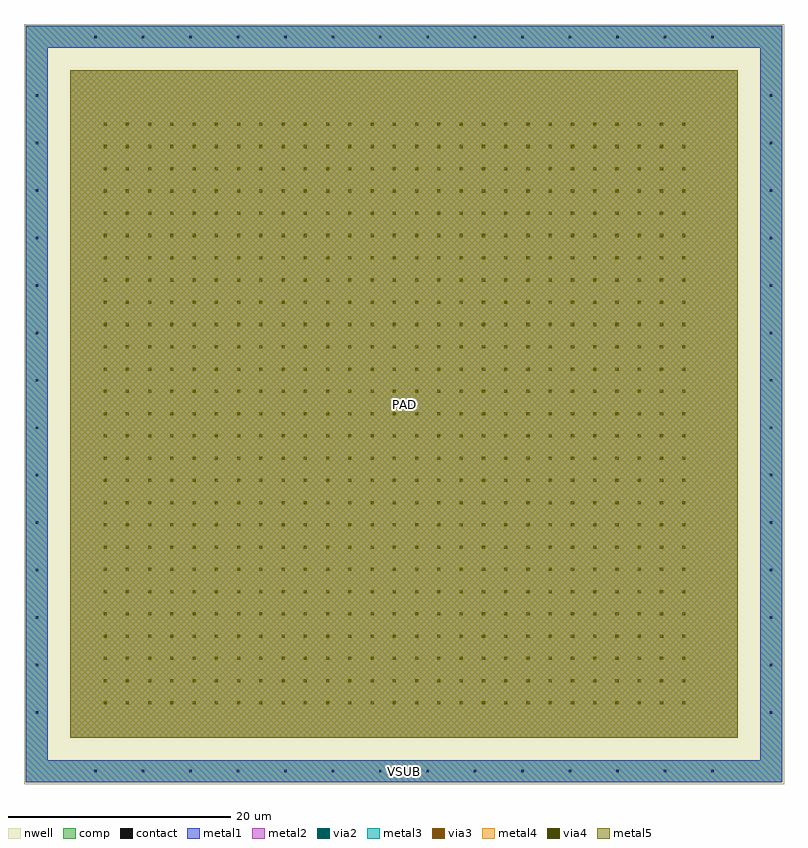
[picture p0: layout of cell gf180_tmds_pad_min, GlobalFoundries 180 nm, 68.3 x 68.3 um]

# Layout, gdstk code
import gdstk
lib = gdstk.Library(unit=1e-6, precision=1e-09)
def R(c, l, rs):  # rectangles x0, y0, x1, y1
    for r in rs: c.add(gdstk.rectangle(r[:2], r[2:], *l))
def A(c, l, x, y, w, h, nx, ny, dx, dy):  # array of equal rectangles
    R(c, l, [(x+i*dx, y+j*dy, x+i*dx+w, y+j*dy+h) for i in range(nx) for j in range(ny)])
def P(c, l, *ps):  # polygons
    for p in ps: c.add(gdstk.Polygon(p, *l))
nwell = (21, 0)
comp = (22, 0)
contact = (33, 0)
metal1 = (34, 0)
metal2 = (36, 0)
via2 = (38, 0)
via3 = (40, 0)
via4 = (41, 0)
metal3 = (42, 0)
metal4 = (46, 0)
metal5 = (81, 0)

guard_ring = lib.new_cell('guard_ring')
R(guard_ring, nwell, [(-0.15,-0.15,68.15,68.15)])
P(guard_ring, comp, [(0,0),(0,66),(2,66),(2,2),(66,2),(66,66),(0,66),(0,68),(68,68),(68,0)])
A(guard_ring, contact, 10.423, 0.89, 0.22, 0.22, 3, 2, 4.267, 66)
A(guard_ring, contact, 23.223, 0.89, 0.22, 0.22, 3, 2, 4.267, 66)
A(guard_ring, contact, 36.023, 0.89, 0.22, 0.22, 3, 2, 4.267, 66)
A(guard_ring, contact, 48.823, 0.89, 0.22, 0.22, 3, 2, 4.267, 66)
A(guard_ring, contact, 0.89, 10.423, 0.22, 0.22, 1, 3, 0, 4.267)
A(guard_ring, contact, 66.89, 10.423, 0.22, 0.22, 1, 3, 0, 4.267)
A(guard_ring, contact, 0.89, 23.223, 0.22, 0.22, 1, 3, 0, 4.267)
A(guard_ring, contact, 66.89, 23.223, 0.22, 0.22, 1, 3, 0, 4.267)
A(guard_ring, contact, 0.89, 36.023, 0.22, 0.22, 1, 3, 0, 4.267)
A(guard_ring, contact, 66.89, 36.023, 0.22, 0.22, 1, 3, 0, 4.267)
A(guard_ring, contact, 0.89, 48.823, 0.22, 0.22, 1, 3, 0, 4.267)
A(guard_ring, contact, 66.89, 48.823, 0.22, 0.22, 1, 3, 0, 4.267)
R(guard_ring, contact, [(6.157,0.89,6.377,1.11), (61.623,0.89,61.843,1.11), (0.89,6.157,1.11,6.377), (66.89,6.157,67.11,6.377), (0.89,61.623,1.11,61.843), (66.89,61.623,67.11,61.843), (6.157,66.89,6.377,67.11), (61.623,66.89,61.843,67.11)])
P(guard_ring, metal1, [(0,0),(0,66),(2,66),(2,2),(66,2),(66,66),(0,66),(0,68),(68,68),(68,0)])

gf180_tmds_pad_min = lib.new_cell('gf180_tmds_pad_min')
R(gf180_tmds_pad_min, metal2, [(4,4,64,64)])
A(gf180_tmds_pad_min, via2, 7, 7, 0.28, 0.28, 27, 27, 2, 2)
A(gf180_tmds_pad_min, via3, 7, 7, 0.28, 0.28, 27, 27, 2, 2)
A(gf180_tmds_pad_min, via4, 7, 7, 0.28, 0.28, 27, 27, 2, 2)
R(gf180_tmds_pad_min, metal3, [(4,4,64,64)])
R(gf180_tmds_pad_min, metal4, [(4,4,64,64)])
R(gf180_tmds_pad_min, metal5, [(4,4,64,64)])
gf180_tmds_pad_min.add(gdstk.Reference(guard_ring, (0,0)))
gf180_tmds_pad_min.add(gdstk.Label('PAD', (34,34), layer=81, texttype=10))
gf180_tmds_pad_min.add(gdstk.Label('VSUB', (34,1), layer=34, texttype=10))

lib.write_gds('gf180_tmds_pad_min.gds')
